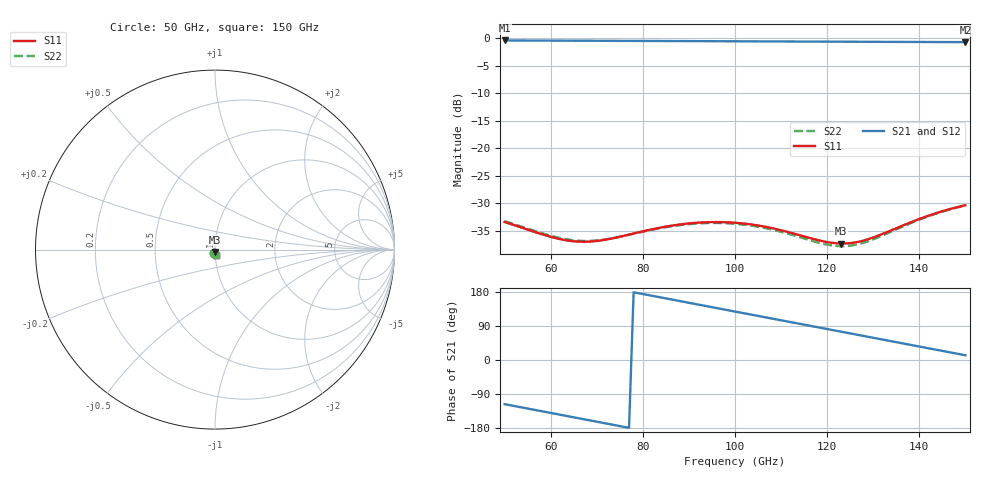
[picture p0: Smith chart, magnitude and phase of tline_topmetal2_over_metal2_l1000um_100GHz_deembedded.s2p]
! Created with skrf 2.2.0 (http://scikit-rf.org).
# GHz S DB R 50.0
! Port[1] = P1
! Port[2] = P2
!freq dBS11 angS11 dBS21 angS21 dBS12 angS12 dBS22 angS22
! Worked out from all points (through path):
!   101 points, 50 GHz to 150 GHz, reference 50 ohm
!   highest |S21| = -0.45 dB at 50 GHz (marker M1); lowest = -0.8 dB at 150 GHz (marker M2)
!   group delay of S21, straight-line fit = 6.42 ps
!   lowest |S11| = -37.3 dB at 123 GHz (marker M3), VSWR 1.03, Z = 49.9 - j1.35 ohm
!   |S11| at or under -10 dB: start of sweep to end of sweep
!   |S22| runs from -37.8 to -30.4 dB; largest |S21 - S12| = 1.6e-13
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50  -33.43 -102.7  -0.45 -116.6  -0.45 -116.6  -33.29 -103.1
54  -34.53 -105.4  -0.46 -125.8  -0.46 -125.8  -34.36 -106.0
59  -35.88 -104.8  -0.47 -137.4  -0.47 -137.4  -35.68 -105.8
63  -36.70 -100.9  -0.49 -146.6  -0.49 -146.6  -36.50 -102.4
67  -37.02 -95.0  -0.50 -155.9  -0.50 -155.9  -36.87 -97.1
72  -36.63 -88.3  -0.51 -167.4  -0.51 -167.4  -36.57 -90.7
76  -35.92 -85.5  -0.52 -176.7  -0.52 -176.7  -35.93 -87.8
80  -35.12 -85.3  -0.53 174.1  -0.53 174.1  -35.19 -87.4
84  -34.42 -87.0  -0.55 164.8  -0.55 164.8  -34.52 -89.1
88  -33.88 -90.2  -0.56 155.6  -0.56 155.6  -34.00 -92.1
92  -33.55 -94.2  -0.57 146.3  -0.57 146.3  -33.69 -96.0
100  -33.56 -102.7  -0.60 127.9  -0.60 127.9  -33.75 -104.5
105  -34.06 -107.2  -0.61 116.3  -0.61 116.3  -34.28 -108.9
109  -34.72 -109.4  -0.63 107.1  -0.63 107.1  -34.99 -111.1
113  -35.58 -109.4  -0.64 97.8  -0.64 97.8  -35.91 -110.9
117  -36.51 -106.2  -0.65 88.6  -0.65 88.6  -36.92 -107.4
123  -37.34 -94.3  -0.67 74.8  -0.67 74.8  -37.82 -94.3
128  -36.77 -82.0  -0.69 63.2  -0.69 63.2  -37.17 -80.9
134  -34.91 -73.2  -0.70 49.4  -0.70 49.4  -35.14 -71.8
142  -32.28 -73.3  -0.73 30.9  -0.73 30.9  -32.38 -72.2
146  -31.23 -76.5  -0.74 21.7  -0.74 21.7  -31.30 -75.5
150  -30.38 -80.8  -0.75 12.5  -0.75 12.5  -30.44 -80.1
